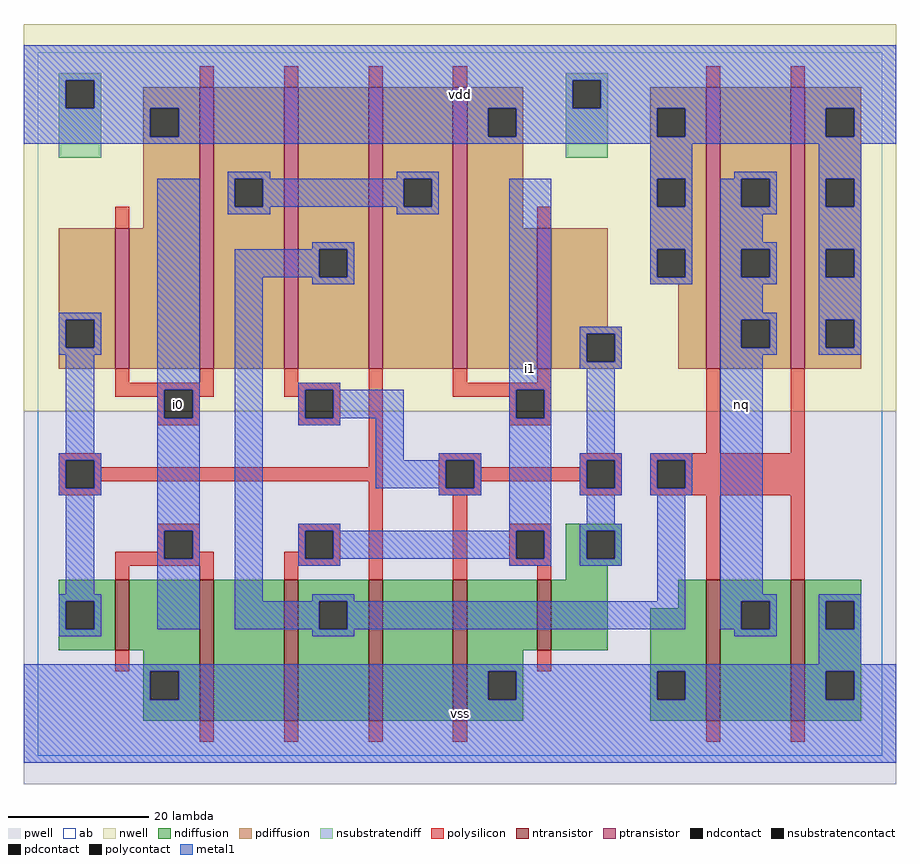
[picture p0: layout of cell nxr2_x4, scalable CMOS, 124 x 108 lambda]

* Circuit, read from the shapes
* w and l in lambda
.subckt nxr2_x4 i0 i1 nq vdd vss
M1 vss i0 n1 VSUBS nfet w=10 l=2
M2 n2 i0 vss VSUBS nfet w=20 l=2
M3 n3 i1 n2 VSUBS nfet w=20 l=2
M4 n4 n1 n3 VSUBS nfet w=20 l=2
M5 vss n5 n4 VSUBS nfet w=20 l=2
M6 n5 i1 vss VSUBS nfet w=10 l=2
M7 nq n3 vss VSUBS nfet w=20 l=2 m=2
M8 vdd i0 n1 vdd pfet w=20 l=2
M9 n6 i0 vdd vdd pfet w=40 l=2
M10 n3 n5 n6 vdd pfet w=40 l=2
M11 n6 n1 n3 vdd pfet w=40 l=2
M12 vdd i1 n6 vdd pfet w=40 l=2
M13 n5 i1 vdd vdd pfet w=20 l=2
M14 nq n3 vdd vdd pfet w=40 l=2 m=2
.ends

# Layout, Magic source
magic
tech scmos
<< ab >>
rect 0 0 120 100
<< pwell >>
rect -2 -4 122 49
<< nwell >>
rect -2 49 122 104
<< polysilicon >>
rect 23 95 25 98
rect 35 95 37 98
rect 47 95 49 98
rect 59 95 61 98
rect 11 75 13 78
rect 95 95 97 98
rect 107 95 109 98
rect 71 75 73 78
rect 11 53 13 55
rect 23 53 25 55
rect 11 52 25 53
rect 11 51 18 52
rect 17 48 18 51
rect 22 51 25 52
rect 35 53 37 55
rect 35 52 43 53
rect 35 51 38 52
rect 22 48 23 51
rect 17 47 23 48
rect 37 48 38 51
rect 42 48 43 52
rect 37 47 43 48
rect 3 42 9 43
rect 3 38 4 42
rect 8 41 9 42
rect 47 41 49 55
rect 59 53 61 55
rect 71 53 73 55
rect 59 52 73 53
rect 59 51 68 52
rect 67 48 68 51
rect 72 48 73 52
rect 67 47 73 48
rect 95 43 97 55
rect 107 43 109 55
rect 8 39 49 41
rect 8 38 9 39
rect 3 37 9 38
rect 17 32 23 33
rect 17 29 18 32
rect 11 28 18 29
rect 22 29 23 32
rect 37 32 43 33
rect 37 29 38 32
rect 22 28 25 29
rect 11 27 25 28
rect 11 25 13 27
rect 23 25 25 27
rect 35 28 38 29
rect 42 28 43 32
rect 35 27 43 28
rect 35 25 37 27
rect 47 25 49 39
rect 57 42 63 43
rect 57 38 58 42
rect 62 41 63 42
rect 77 42 83 43
rect 77 41 78 42
rect 62 39 78 41
rect 62 38 63 39
rect 57 37 63 38
rect 77 38 78 39
rect 82 38 83 42
rect 77 37 83 38
rect 87 42 109 43
rect 87 38 88 42
rect 92 38 109 42
rect 87 37 109 38
rect 59 25 61 37
rect 67 32 73 33
rect 67 28 68 32
rect 72 28 73 32
rect 67 27 73 28
rect 71 25 73 27
rect 95 25 97 37
rect 107 25 109 37
rect 11 12 13 15
rect 71 12 73 15
rect 23 2 25 5
rect 35 2 37 5
rect 47 2 49 5
rect 59 2 61 5
rect 95 2 97 5
rect 107 2 109 5
<< ndiffusion >>
rect 75 32 83 33
rect 75 28 78 32
rect 82 28 83 32
rect 75 27 83 28
rect 75 25 81 27
rect 3 22 11 25
rect 3 18 4 22
rect 8 18 11 22
rect 3 15 11 18
rect 13 15 23 25
rect 15 12 23 15
rect 15 8 16 12
rect 20 8 23 12
rect 15 5 23 8
rect 25 5 35 25
rect 37 22 47 25
rect 37 18 40 22
rect 44 18 47 22
rect 37 5 47 18
rect 49 5 59 25
rect 61 15 71 25
rect 73 15 81 25
rect 91 21 95 25
rect 61 12 69 15
rect 87 12 95 21
rect 61 8 64 12
rect 68 8 69 12
rect 61 5 69 8
rect 87 8 88 12
rect 92 8 95 12
rect 87 5 95 8
rect 97 22 107 25
rect 97 18 100 22
rect 104 18 107 22
rect 97 5 107 18
rect 109 22 117 25
rect 109 18 112 22
rect 116 18 117 22
rect 109 12 117 18
rect 109 8 112 12
rect 116 8 117 12
rect 109 5 117 8
<< pdiffusion >>
rect 15 92 23 95
rect 15 88 16 92
rect 20 88 23 92
rect 15 75 23 88
rect 3 62 11 75
rect 3 58 4 62
rect 8 58 11 62
rect 3 55 11 58
rect 13 55 23 75
rect 25 82 35 95
rect 25 78 28 82
rect 32 78 35 82
rect 25 55 35 78
rect 37 72 47 95
rect 37 68 40 72
rect 44 68 47 72
rect 37 55 47 68
rect 49 82 59 95
rect 49 78 52 82
rect 56 78 59 82
rect 49 55 59 78
rect 61 92 69 95
rect 61 88 64 92
rect 68 88 69 92
rect 61 75 69 88
rect 87 92 95 95
rect 87 88 88 92
rect 92 88 95 92
rect 87 82 95 88
rect 87 78 88 82
rect 92 78 95 82
rect 61 55 71 75
rect 73 61 81 75
rect 87 72 95 78
rect 87 68 88 72
rect 92 68 95 72
rect 87 67 95 68
rect 73 60 83 61
rect 73 56 78 60
rect 82 56 83 60
rect 73 55 83 56
rect 91 55 95 67
rect 97 82 107 95
rect 97 78 100 82
rect 104 78 107 82
rect 97 72 107 78
rect 97 68 100 72
rect 104 68 107 72
rect 97 62 107 68
rect 97 58 100 62
rect 104 58 107 62
rect 97 55 107 58
rect 109 92 117 95
rect 109 88 112 92
rect 116 88 117 92
rect 109 82 117 88
rect 109 78 112 82
rect 116 78 117 82
rect 109 72 117 78
rect 109 68 112 72
rect 116 68 117 72
rect 109 62 117 68
rect 109 58 112 62
rect 116 58 117 62
rect 109 55 117 58
<< metal1 >>
rect -2 96 122 101
rect -2 92 4 96
rect 8 92 76 96
rect 80 92 122 96
rect -2 88 16 92
rect 20 88 64 92
rect 68 88 88 92
rect 92 88 112 92
rect 116 88 122 92
rect -2 87 122 88
rect 27 82 33 83
rect 51 82 57 83
rect 87 82 93 87
rect 99 82 105 83
rect 3 62 9 63
rect 3 58 4 62
rect 8 58 9 62
rect 3 57 9 58
rect 4 43 8 57
rect 17 52 23 82
rect 27 78 28 82
rect 32 78 52 82
rect 56 78 57 82
rect 27 77 33 78
rect 51 77 57 78
rect 39 72 45 73
rect 17 48 18 52
rect 22 48 23 52
rect 3 42 9 43
rect 3 38 4 42
rect 8 38 9 42
rect 3 37 9 38
rect 4 23 8 37
rect 17 32 23 48
rect 17 28 18 32
rect 22 28 23 32
rect 3 22 9 23
rect 3 18 4 22
rect 8 18 9 22
rect 17 18 23 28
rect 28 68 40 72
rect 44 68 45 72
rect 28 22 32 68
rect 39 67 45 68
rect 37 52 43 53
rect 67 52 73 82
rect 87 78 88 82
rect 92 78 93 82
rect 87 72 93 78
rect 87 68 88 72
rect 92 68 93 72
rect 87 67 93 68
rect 97 78 100 82
rect 104 78 105 82
rect 97 77 105 78
rect 111 82 117 87
rect 111 78 112 82
rect 116 78 117 82
rect 97 73 103 77
rect 97 72 105 73
rect 97 68 100 72
rect 104 68 105 72
rect 97 67 105 68
rect 111 72 117 78
rect 111 68 112 72
rect 116 68 117 72
rect 97 63 103 67
rect 97 62 105 63
rect 77 60 83 61
rect 77 56 78 60
rect 82 56 83 60
rect 77 55 83 56
rect 97 58 100 62
rect 104 58 105 62
rect 97 57 105 58
rect 111 62 117 68
rect 111 58 112 62
rect 116 58 117 62
rect 111 57 117 58
rect 37 48 38 52
rect 42 48 52 52
rect 37 47 43 48
rect 48 42 52 48
rect 67 48 68 52
rect 72 48 73 52
rect 57 42 63 43
rect 48 38 58 42
rect 62 38 63 42
rect 57 37 63 38
rect 37 32 43 33
rect 67 32 73 48
rect 78 43 82 55
rect 77 42 83 43
rect 77 38 78 42
rect 82 38 83 42
rect 77 37 83 38
rect 87 42 93 43
rect 87 38 88 42
rect 92 38 93 42
rect 87 37 93 38
rect 78 33 82 37
rect 37 28 38 32
rect 42 28 68 32
rect 72 28 73 32
rect 37 27 43 28
rect 67 27 73 28
rect 77 32 83 33
rect 77 28 78 32
rect 82 28 83 32
rect 77 27 83 28
rect 39 22 45 23
rect 88 22 92 37
rect 28 18 40 22
rect 44 18 92 22
rect 97 23 103 57
rect 97 22 105 23
rect 97 18 100 22
rect 104 18 105 22
rect 3 17 9 18
rect 39 17 45 18
rect 99 17 105 18
rect 111 22 117 23
rect 111 18 112 22
rect 116 18 117 22
rect 111 13 117 18
rect -2 12 122 13
rect -2 8 16 12
rect 20 8 64 12
rect 68 8 88 12
rect 92 8 112 12
rect 116 8 122 12
rect -2 -1 122 8
<< ntransistor >>
rect 11 15 13 25
rect 23 5 25 25
rect 35 5 37 25
rect 47 5 49 25
rect 59 5 61 25
rect 71 15 73 25
rect 95 5 97 25
rect 107 5 109 25
<< ptransistor >>
rect 11 55 13 75
rect 23 55 25 95
rect 35 55 37 95
rect 47 55 49 95
rect 59 55 61 95
rect 71 55 73 75
rect 95 55 97 95
rect 107 55 109 95
<< polycontact >>
rect 18 48 22 52
rect 38 48 42 52
rect 4 38 8 42
rect 68 48 72 52
rect 18 28 22 32
rect 38 28 42 32
rect 58 38 62 42
rect 78 38 82 42
rect 88 38 92 42
rect 68 28 72 32
<< ndcontact >>
rect 78 28 82 32
rect 4 18 8 22
rect 16 8 20 12
rect 40 18 44 22
rect 64 8 68 12
rect 88 8 92 12
rect 100 18 104 22
rect 112 18 116 22
rect 112 8 116 12
<< pdcontact >>
rect 16 88 20 92
rect 4 58 8 62
rect 28 78 32 82
rect 40 68 44 72
rect 52 78 56 82
rect 64 88 68 92
rect 88 88 92 92
rect 88 78 92 82
rect 88 68 92 72
rect 78 56 82 60
rect 100 78 104 82
rect 100 68 104 72
rect 100 58 104 62
rect 112 88 116 92
rect 112 78 116 82
rect 112 68 116 72
rect 112 58 116 62
<< nsubstratencontact >>
rect 4 92 8 96
rect 76 92 80 96
<< nsubstratendiff >>
rect 3 96 9 97
rect 3 92 4 96
rect 8 92 9 96
rect 75 96 81 97
rect 3 85 9 92
rect 75 92 76 96
rect 80 92 81 96
rect 75 85 81 92
<< labels >>
rlabel polycontact 20 50 20 50 6 i0
rlabel polycontact 20 50 20 50 6 i0
rlabel metal1 60 6 60 6 6 vss
rlabel metal1 60 6 60 6 6 vss
rlabel metal1 70 55 70 55 6 i1
rlabel metal1 70 55 70 55 6 i1
rlabel metal1 60 94 60 94 6 vdd
rlabel metal1 60 94 60 94 6 vdd
rlabel metal1 100 50 100 50 6 nq
rlabel metal1 100 50 100 50 6 nq
<< end >>
